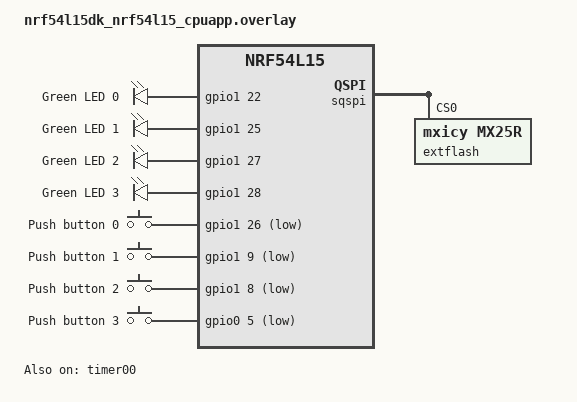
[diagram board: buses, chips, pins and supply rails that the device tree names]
/*
 * Copyright (c) 2024 Nordic Semiconductor ASA
 *
 * SPDX-License-Identifier: LicenseRef-Nordic-5-Clause
 */

 /* copied from ./v3.3.0/zephyr/boards/nordic/nrf54lm20dk/nrf54lm20dk_common.dtsi because I can't seem to include it */

/ {
	leds {
		compatible = "gpio-leds";

		led0: led_0 {
			gpios = <&gpio1 22 GPIO_ACTIVE_HIGH>;
			label = "Green LED 0";
		};

		led1: led_1 {
			gpios = <&gpio1 25 GPIO_ACTIVE_HIGH>;
			label = "Green LED 1";
		};

		led2: led_2 {
			gpios = <&gpio1 27 GPIO_ACTIVE_HIGH>;
			label = "Green LED 2";
		};

		led3: led_3 {
			gpios = <&gpio1 28 GPIO_ACTIVE_HIGH>;
			label = "Green LED 3";
		};
	};
	buttons {
		compatible = "gpio-keys";

		button0: button_0 {
			gpios = <&gpio1 26 (GPIO_PULL_UP | GPIO_ACTIVE_LOW)>;
			label = "Push button 0";
			zephyr,code = <INPUT_KEY_0>;
		};

		button1: button_1 {
			gpios = <&gpio1 9 (GPIO_PULL_UP | GPIO_ACTIVE_LOW)>;
			label = "Push button 1";
			zephyr,code = <INPUT_KEY_1>;
		};

		button2: button_2 {
			gpios = <&gpio1 8 (GPIO_PULL_UP | GPIO_ACTIVE_LOW)>;
			label = "Push button 2";
			zephyr,code = <INPUT_KEY_2>;
		};

		button3: button_3 {
			gpios = <&gpio0 5 (GPIO_PULL_UP | GPIO_ACTIVE_LOW)>;
			label = "Push button 3";
			zephyr,code = <INPUT_KEY_3>;
		};
	};

	aliases {
		led0 = &led0;
		led1 = &led1;
		led2 = &led2;
		led3 = &led3;
		sw0 = &button0;
		sw1 = &button1;
		sw2 = &button2;
		sw3 = &button3;
	};
};

/* QSPI flash */
&pinctrl {
	sqspi_default: sqspi_default {
		group1 {
			psels = <NRF_PSEL(SDP_MSPI_SCK, 2, 1)>,
				<NRF_PSEL(SDP_MSPI_CS0, 2, 5)>,
				<NRF_PSEL(SDP_MSPI_DQ0, 2, 2)>;
			nordic,drive-mode = <NRF_DRIVE_E0E1>;
		};

		group2 {
			psels = <NRF_PSEL(SDP_MSPI_DQ1, 2, 4)>,
				<NRF_PSEL(SDP_MSPI_DQ2, 2, 3)>,
				<NRF_PSEL(SDP_MSPI_DQ3, 2, 0)>;
			nordic,drive-mode = <NRF_DRIVE_E0E1>;
			bias-pull-up;
		};
	};

	sqspi_sleep: sqspi_sleep {
		group1 {
			low-power-enable;
			psels = <NRF_PSEL(SDP_MSPI_SCK, 2, 1)>,
				<NRF_PSEL(SDP_MSPI_CS0, 2, 5)>,
				<NRF_PSEL(SDP_MSPI_DQ0, 2, 2)>,
				<NRF_PSEL(SDP_MSPI_DQ1, 2, 4)>,
				<NRF_PSEL(SDP_MSPI_DQ2, 2, 3)>,
				<NRF_PSEL(SDP_MSPI_DQ3, 2, 0)>;
		};
	};
};

&cpuflpr_vpr {
	pinctrl-0 = <&sqspi_default>;
	pinctrl-1 = <&sqspi_sleep>;
	pinctrl-names = "default", "sleep";
	interrupts = <76 NRF_DEFAULT_IRQ_PRIORITY>;
	status = "okay";
};

/ {
	reserved-memory {
		#address-cells = <1>;
		#size-cells = <1>;
		ranges;

		softperipheral_ram: memory@2003c000 {
			reg = <0x2003c000 0x4000>;
			ranges = <0 0x2003c000 0x4000>;
			#address-cells = <1>;
			#size-cells = <1>;

			sqspi: sqspi@3b40 {
				compatible = "nordic,nrf-sqspi";
				#address-cells = <1>;
				#size-cells = <0>;
				reg = <0x3b40 0x200>;
				status = "okay";
				zephyr,pm-device-runtime-auto;
			};
		};
	};
zephyr,user {
		/* Reference our external flash node */
		ext-flash = &extflash;

		/* You can even define the XIP base here for use in C */
		xip-base = <0x60000000>;
	};
};

/delete-node/ &mx25r64;

&sqspi {
	extflash: extflash@0 {
		compatible = "mxicy,mx25r", "jedec,mspi-nor";
		status = "okay";
		reg = <0>;
		jedec-id = [c2 28 17];
		quad-enable-requirements = "S1B6";
		sfdp-bfp = [e5 20 f1 ff ff ff ff 03 44 eb 08 6b 08 3b 04 bb
			    ee ff ff ff ff ff 00 ff ff ff 00 ff 0c 20 0f 52
			    10 d8 00 ff 23 72 f5 00 82 ed 04 cc 44 83 68 44
			    30 b0 30 b0 f7 c4 d5 5c 00 be 29 ff f0 d0 ff ff];
		size = <67108864>;
		has-dpd;
		t-enter-dpd = <10000>;
		t-exit-dpd = <35000>;
		t-reset-pulse = <10000>;
		t-reset-recovery = <35000>;

		mspi-max-frequency = <DT_FREQ_M(32)>;
		mspi-io-mode = "MSPI_IO_MODE_QUAD_1_4_4";
		mspi-data-rate = "MSPI_DATA_RATE_SINGLE";
		mspi-hardware-ce-num = <1>;
		mspi-cpp-mode = "MSPI_CPP_MODE_0";
		mspi-endian = "MSPI_BIG_ENDIAN";
		mspi-ce-polarity = "MSPI_CE_ACTIVE_LOW";
	};
};

/* Other configs */
/delete-node/ &spi00;
/delete-node/ &spi22;
/delete-node/ &pwm20;
/delete-node/ &uart30;

&pinctrl {
	/omit-if-no-ref/ uart20_default: uart20_default {
		group1 {
			psels = <NRF_PSEL(UART_TX, 1, 4)>,
				<NRF_PSEL(UART_RTS, 1, 6)>;
		};

		group2 {
			psels = <NRF_PSEL(UART_RX, 1, 5)>,
				<NRF_PSEL(UART_CTS, 1, 7)>;
			bias-pull-up;
		};
	};

	/omit-if-no-ref/ uart20_sleep: uart20_sleep {
		group1 {
			psels = <NRF_PSEL(UART_RX, 1, 5)>,
				<NRF_PSEL(UART_RTS, 1, 6)>,
				<NRF_PSEL(UART_CTS, 1, 7)>;
			low-power-enable;
		};

		group2 {
			psels = <NRF_PSEL(UART_TX, 1, 4)>;
			low-power-enable;
			bias-pull-up;
		};
	};

	/omit-if-no-ref/ uart30_default: uart30_default {
		group1 {
			psels = <NRF_PSEL(UART_TX, 0, 0)>,
				<NRF_PSEL(UART_RTS, 0, 2)>;
		};

		group2 {
			psels = <NRF_PSEL(UART_RX, 0, 1)>,
				<NRF_PSEL(UART_CTS, 0, 3)>;
			bias-pull-up;
		};
	};

	/omit-if-no-ref/ uart30_sleep: uart30_sleep {
		group1 {
			psels = <NRF_PSEL(UART_TX, 0, 0)>,
				<NRF_PSEL(UART_RX, 0, 1)>,
				<NRF_PSEL(UART_RTS, 0, 2)>,
				<NRF_PSEL(UART_CTS, 0, 3)>;
			low-power-enable;
		};
	};
};

&timer00 { /* util timer */
    status = "okay";
};
